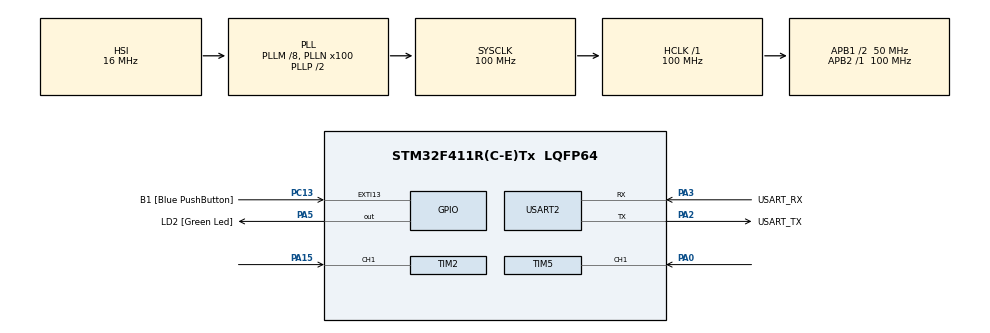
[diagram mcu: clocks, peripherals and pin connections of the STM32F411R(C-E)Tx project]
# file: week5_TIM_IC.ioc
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Mcu.Family=STM32F4
Dma.TIM2_CH1.0.MemInc=DMA_MINC_ENABLE
VP_TIM5_VS_ClockSourceINT.Mode=Internal
RCC.CortexFreq_Value=100000000
TIM2.Channel-Input_Capture1_from_TI1=TIM_CHANNEL_1
NVIC.DMA1_Stream2_IRQn=true\:0\:0\:false\:false\:true\:false\:true
PA14.GPIO_Label=TCK
Dma.TIM2_CH1.0.Instance=DMA1_Stream5
RCC.SYSCLKSource=RCC_SYSCLKSOURCE_PLLCLK
ProjectManager.StackSize=0x400
Dma.TIM5_CH1.1.Direction=DMA_PERIPH_TO_MEMORY
PH0\ -\ OSC_IN.Signal=RCC_OSC_IN
NVIC.TIM5_IRQn=true\:0\:0\:false\:false\:true\:true\:true
RCC.HCLKFreq_Value=100000000
RCC.APB2TimFreq_Value=100000000
RCC.AHBFreq_Value=100000000
RCC.HSE_VALUE=8000000
PC13-ANTI_TAMP.Signal=GPXTI13
PC14-OSC32_IN.Mode=LSE-External-Oscillator
PA14.Mode=Serial_Wire
Dma.TIM5_CH1.1.PeriphDataAlignment=DMA_PDATAALIGN_WORD
NVIC.TIM2_IRQn=true\:0\:0\:false\:false\:true\:true\:true
PA8.Signal=S_TIM1_CH1
TIM5.Channel-Input_Capture1_from_TI1=TIM_CHANNEL_1
RCC.FLatency-AdvancedSettings=FLASH_LATENCY_3
Dma.TIM5_CH1.1.Mode=DMA_NORMAL
Mcu.Package=LQFP64
TIM2.Prescaler=99
Dma.TIM2_CH1.0.FIFOMode=DMA_FIFOMODE_DISABLE
USART2.VirtualMode=VM_ASYNC
PA2.GPIO_Label=USART_TX
PA15.Signal=S_TIM2_CH1_ETR
Dma.TIM2_CH1.0.PeriphDataAlignment=DMA_PDATAALIGN_WORD
Dma.Request1=TIM5_CH1
RCC.APB1TimFreq_Value=100000000
TIM5.ICFilter_CH1=2
SH.S_TIM5_CH1.0=TIM5_CH1,Input_Capture1_from_TI1
Dma.TIM5_CH1.1.Instance=DMA1_Stream2
Dma.Request0=TIM2_CH1
Dma.TIM2_CH1.0.Direction=DMA_PERIPH_TO_MEMORY
Dma.TIM5_CH1.1.FIFOMode=DMA_FIFOMODE_DISABLE
PA3.Signal=USART2_RX
PB3.GPIO_Label=SWO
PC15-OSC32_OUT.Mode=LSE-External-Oscillator
PC13-ANTI_TAMP.GPIO_Label=B1 [Blue PushButton]
PH1\ -\ OSC_OUT.Mode=HSE-External-Clock-Source
RCC.APB1CLKDivider=RCC_HCLK_DIV2
PC14-OSC32_IN.Signal=RCC_OSC32_IN
PA0-WKUP.Signal=S_TIM5_CH1
PA13.Signal=SYS_JTMS-SWDIO
PA3.Mode=Asynchronous
PH0\ -\ OSC_IN.Mode=HSE-External-Clock-Source
SH.S_TIM1_CH1.0=TIM1_CH1
Dma.TIM5_CH1.1.Priority=DMA_PRIORITY_LOW
ProjectManager.TargetToolchain=STM32CubeIDE
NVIC.DMA1_Stream5_IRQn=true\:0\:0\:false\:false\:true\:false\:true
TIM2.ICFilter_CH1=2
PC15-OSC32_OUT.Signal=RCC_OSC32_OUT
PA5.Signal=GPIO_Output
Dma.TIM5_CH1.1.MemDataAlignment=DMA_MDATAALIGN_WORD
PH1\ -\ OSC_OUT.Signal=RCC_OSC_OUT
board=NUCLEO-F411RE
RCC.VCOOutputFreq_Value=200000000
RCC.APB2Freq_Value=100000000
Dma.TIM2_CH1.0.Priority=DMA_PRIORITY_LOW
VP_TIM2_VS_ClockSourceINT.Mode=Internal
Dma.TIM5_CH1.1.PeriphInc=DMA_PINC_DISABLE
PA13.Mode=Serial_Wire
Mcu.Name=STM32F411R(C-E)Tx
PA13.GPIO_Label=TMS
PA2.Signal=USART2_TX
RCC.48MHZClocksFreq_Value=50000000
PB3.Signal=SYS_JTDO-SWO
RCC.SYSCLKFreq_VALUE=100000000
Dma.TIM2_CH1.0.Mode=DMA_CIRCULAR
PA5.GPIO_Label=LD2 [Green Led]
Dma.TIM5_CH1.1.MemInc=DMA_MINC_ENABLE
TIM5.Prescaler=99
PC13-ANTI_TAMP.GPIO_ModeDefaultEXTI=GPIO_MODE_IT_FALLING
SH.S_TIM2_CH1_ETR.0=TIM2_CH1,Input_Capture1_from_TI1
Dma.TIM2_CH1.0.MemDataAlignment=DMA_MDATAALIGN_WORD
PA14.Signal=SYS_JTCK-SWCLK
ProjectManager.HeapSize=0x200
RCC.HSI_VALUE=16000000
NVIC.PriorityGroup=NVIC_PRIORITYGROUP_0
RCC.PLLM=8
RCC.PLLN=100
PA2.Mode=Asynchronous
RCC.APB1Freq_Value=50000000
Dma.TIM2_CH1.0.PeriphInc=DMA_PINC_DISABLE
PA3.GPIO_Label=USART_RX

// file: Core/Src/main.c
/* USER CODE BEGIN Header */
/**
 ******************************************************************************
 * @file           : main.c
 * @brief          : Main program body
 ******************************************************************************
 * @attention
 *
 * <h2><center>&copy; Copyright (c) 2021 STMicroelectronics.
 * All rights reserved.</center></h2>
 *
 * This software component is licensed by ST under BSD 3-Clause license,
 * the "License"; You may not use this file except in compliance with the
 * License. You may obtain a copy of the License at:
 *                        opensource.org/licenses/BSD-3-Clause
 *
 ******************************************************************************
 */
/* USER CODE END Header */
#include "main.h"

/* USER CODE BEGIN PD */
#define CAPTURENUM 16

/* USER CODE END PD */

TIM_HandleTypeDef htim2;
TIM_HandleTypeDef htim5;
DMA_HandleTypeDef hdma_tim2_ch1;
DMA_HandleTypeDef hdma_tim5_ch1;

UART_HandleTypeDef huart2;

/* USER CODE BEGIN PV */

//12 P/R , Gear reduction 1 : 64
//DMA Buffer
uint32_t capturedata[CAPTURENUM] = { 0 };
//diff time of capture data
int32_t DiffTime[CAPTURENUM-1] = { 0 };
//Mean difftime
float MeanTime = 0;
float Resolution = 12;  //Pulse per Round
float Module = 64;
float RPM = 0;
uint32_t HalfPeriod = 100000;  //5Hz

//for microsecond measurement
uint64_t _micros5 = 0;
/* USER CODE END PV */

void SystemClock_Config(void);
static void MX_GPIO_Init(void);
static void MX_DMA_Init(void);
static void MX_USART2_UART_Init(void);
static void MX_TIM2_Init(void);
static void MX_TIM5_Init(void);
/* USER CODE BEGIN PFP */
//Read speed of encoder
void encoderSpeedReaderCycle();
uint64_t micros5();
/* USER CODE END PFP */

int main(void)
{

  /* MCU Configuration--------------------------------------------------------*/

  /* Reset of all peripherals, Initializes the Flash interface and the Systick. */
  HAL_Init();

  /* Configure the system clock */
  SystemClock_Config();

  /* Initialize all configured peripherals */
  MX_GPIO_Init();
  MX_DMA_Init();
  MX_USART2_UART_Init();
  MX_TIM2_Init();
  MX_TIM5_Init();
  /* USER CODE BEGIN 2 */
  	  //start Microsec timer
	HAL_TIM_Base_Start_IT(&htim5);
	//start Input capture in DMA
	HAL_TIM_Base_Start(&htim2);
	HAL_TIM_IC_Start_DMA(&htim2, TIM_CHANNEL_1, (uint32_t*) &capturedata,
			CAPTURENUM);
	uint64_t timestamp = 0;
  /* USER CODE END 2 */

  /* Infinite loop */
  /* USER CODE BEGIN WHILE */
	while (1) {
		//read Time of encoder
		encoderSpeedReaderCycle();
		RPM = (60*1000000/(MeanTime*Resolution))/64;
		if(micros5()-timestamp > HalfPeriod)
		{
			timestamp = micros5();
			HAL_GPIO_TogglePin(LD2_GPIO_Port,LD2_Pin);
		}

    /* USER CODE END WHILE */

	}
}

void SystemClock_Config(void)
{
  RCC_OscInitTypeDef RCC_OscInitStruct = {0};
  RCC_ClkInitTypeDef RCC_ClkInitStruct = {0};

  /** Configure the main internal regulator output voltage
  */
  __HAL_RCC_PWR_CLK_ENABLE();
  __HAL_PWR_VOLTAGESCALING_CONFIG(PWR_REGULATOR_VOLTAGE_SCALE1);
  /** Initializes the RCC Oscillators according to the specified parameters
  * in the RCC_OscInitTypeDef structure.
  */
  RCC_OscInitStruct.OscillatorType = RCC_OSCILLATORTYPE_HSI;
  RCC_OscInitStruct.HSIState = RCC_HSI_ON;
  RCC_OscInitStruct.HSICalibrationValue = RCC_HSICALIBRATION_DEFAULT;
  RCC_OscInitStruct.PLL.PLLState = RCC_PLL_ON;
  RCC_OscInitStruct.PLL.PLLSource = RCC_PLLSOURCE_HSI;
  RCC_OscInitStruct.PLL.PLLM = 8;
  RCC_OscInitStruct.PLL.PLLN = 100;
  RCC_OscInitStruct.PLL.PLLP = RCC_PLLP_DIV2;
  RCC_OscInitStruct.PLL.PLLQ = 4;
  if (HAL_RCC_OscConfig(&RCC_OscInitStruct) != HAL_OK)
  {
    Error_Handler();
  }
  /** Initializes the CPU, AHB and APB buses clocks
  */
  RCC_ClkInitStruct.ClockType = RCC_CLOCKTYPE_HCLK|RCC_CLOCKTYPE_SYSCLK
                              |RCC_CLOCKTYPE_PCLK1|RCC_CLOCKTYPE_PCLK2;
  RCC_ClkInitStruct.SYSCLKSource = RCC_SYSCLKSOURCE_PLLCLK;
  RCC_ClkInitStruct.AHBCLKDivider = RCC_SYSCLK_DIV1;
  RCC_ClkInitStruct.APB1CLKDivider = RCC_HCLK_DIV2;
  RCC_ClkInitStruct.APB2CLKDivider = RCC_HCLK_DIV1;

  if (HAL_RCC_ClockConfig(&RCC_ClkInitStruct, FLASH_LATENCY_3) != HAL_OK)
  {
    Error_Handler();
  }
}

static void MX_TIM2_Init(void)
{

  TIM_ClockConfigTypeDef sClockSourceConfig = {0};
  TIM_MasterConfigTypeDef sMasterConfig = {0};
  TIM_IC_InitTypeDef sConfigIC = {0};

  htim2.Instance = TIM2;
  htim2.Init.Prescaler = 99;
  htim2.Init.CounterMode = TIM_COUNTERMODE_UP;
  htim2.Init.Period = 4294967295;
  htim2.Init.ClockDivision = TIM_CLOCKDIVISION_DIV1;
  htim2.Init.AutoReloadPreload = TIM_AUTORELOAD_PRELOAD_DISABLE;
  if (HAL_TIM_Base_Init(&htim2) != HAL_OK)
  {
    Error_Handler();
  }
  sClockSourceConfig.ClockSource = TIM_CLOCKSOURCE_INTERNAL;
  if (HAL_TIM_ConfigClockSource(&htim2, &sClockSourceConfig) != HAL_OK)
  {
    Error_Handler();
  }
  if (HAL_TIM_IC_Init(&htim2) != HAL_OK)
  {
    Error_Handler();
  }
  sMasterConfig.MasterOutputTrigger = TIM_TRGO_RESET;
  sMasterConfig.MasterSlaveMode = TIM_MASTERSLAVEMODE_DISABLE;
  if (HAL_TIMEx_MasterConfigSynchronization(&htim2, &sMasterConfig) != HAL_OK)
  {
    Error_Handler();
  }
  sConfigIC.ICPolarity = TIM_INPUTCHANNELPOLARITY_RISING;
  sConfigIC.ICSelection = TIM_ICSELECTION_DIRECTTI;
  sConfigIC.ICPrescaler = TIM_ICPSC_DIV1;
  sConfigIC.ICFilter = 2;
  if (HAL_TIM_IC_ConfigChannel(&htim2, &sConfigIC, TIM_CHANNEL_1) != HAL_OK)
  {
    Error_Handler();
  }

}

static void MX_TIM5_Init(void)
{

  TIM_ClockConfigTypeDef sClockSourceConfig = {0};
  TIM_MasterConfigTypeDef sMasterConfig = {0};
  TIM_IC_InitTypeDef sConfigIC = {0};

  htim5.Instance = TIM5;
  htim5.Init.Prescaler = 99;
  htim5.Init.CounterMode = TIM_COUNTERMODE_UP;
  htim5.Init.Period = 4294967295;
  htim5.Init.ClockDivision = TIM_CLOCKDIVISION_DIV1;
  htim5.Init.AutoReloadPreload = TIM_AUTORELOAD_PRELOAD_DISABLE;
  if (HAL_TIM_Base_Init(&htim5) != HAL_OK)
  {
    Error_Handler();
  }
  sClockSourceConfig.ClockSource = TIM_CLOCKSOURCE_INTERNAL;
  if (HAL_TIM_ConfigClockSource(&htim5, &sClockSourceConfig) != HAL_OK)
  {
    Error_Handler();
  }
  if (HAL_TIM_IC_Init(&htim5) != HAL_OK)
  {
    Error_Handler();
  }
  sMasterConfig.MasterOutputTrigger = TIM_TRGO_RESET;
  sMasterConfig.MasterSlaveMode = TIM_MASTERSLAVEMODE_DISABLE;
  if (HAL_TIMEx_MasterConfigSynchronization(&htim5, &sMasterConfig) != HAL_OK)
  {
    Error_Handler();
  }
  sConfigIC.ICPolarity = TIM_INPUTCHANNELPOLARITY_RISING;
  sConfigIC.ICSelection = TIM_ICSELECTION_DIRECTTI;
  sConfigIC.ICPrescaler = TIM_ICPSC_DIV1;
  sConfigIC.ICFilter = 2;
  if (HAL_TIM_IC_ConfigChannel(&htim5, &sConfigIC, TIM_CHANNEL_1) != HAL_OK)
  {
    Error_Handler();
  }

}

static void MX_USART2_UART_Init(void)
{

  huart2.Instance = USART2;
  huart2.Init.BaudRate = 115200;
  huart2.Init.WordLength = UART_WORDLENGTH_8B;
  huart2.Init.StopBits = UART_STOPBITS_1;
  huart2.Init.Parity = UART_PARITY_NONE;
  huart2.Init.Mode = UART_MODE_TX_RX;
  huart2.Init.HwFlowCtl = UART_HWCONTROL_NONE;
  huart2.Init.OverSampling = UART_OVERSAMPLING_16;
  if (HAL_UART_Init(&huart2) != HAL_OK)
  {
    Error_Handler();
  }

}

static void MX_DMA_Init(void)
{

  /* DMA controller clock enable */
  __HAL_RCC_DMA1_CLK_ENABLE();

  /* DMA interrupt init */
  /* DMA1_Stream2_IRQn interrupt configuration */
  HAL_NVIC_SetPriority(DMA1_Stream2_IRQn, 0, 0);
  HAL_NVIC_EnableIRQ(DMA1_Stream2_IRQn);
  /* DMA1_Stream5_IRQn interrupt configuration */
  HAL_NVIC_SetPriority(DMA1_Stream5_IRQn, 0, 0);
  HAL_NVIC_EnableIRQ(DMA1_Stream5_IRQn);

}

static void MX_GPIO_Init(void)
{
  GPIO_InitTypeDef GPIO_InitStruct = {0};

  /* GPIO Ports Clock Enable */
  __HAL_RCC_GPIOC_CLK_ENABLE();
  __HAL_RCC_GPIOH_CLK_ENABLE();
  __HAL_RCC_GPIOA_CLK_ENABLE();
  __HAL_RCC_GPIOB_CLK_ENABLE();

  /*Configure GPIO pin Output Level */
  HAL_GPIO_WritePin(LD2_GPIO_Port, LD2_Pin, GPIO_PIN_RESET);

  /*Configure GPIO pin : B1_Pin */
  GPIO_InitStruct.Pin = B1_Pin;
  GPIO_InitStruct.Mode = GPIO_MODE_IT_FALLING;
  GPIO_InitStruct.Pull = GPIO_NOPULL;
  HAL_GPIO_Init(B1_GPIO_Port, &GPIO_InitStruct);

  /*Configure GPIO pin : LD2_Pin */
  GPIO_InitStruct.Pin = LD2_Pin;
  GPIO_InitStruct.Mode = GPIO_MODE_OUTPUT_PP;
  GPIO_InitStruct.Pull = GPIO_NOPULL;
  GPIO_InitStruct.Speed = GPIO_SPEED_FREQ_LOW;
  HAL_GPIO_Init(LD2_GPIO_Port, &GPIO_InitStruct);

  /*Configure GPIO pin : PA8 */
  GPIO_InitStruct.Pin = GPIO_PIN_8;
  GPIO_InitStruct.Mode = GPIO_MODE_AF_PP;
  GPIO_InitStruct.Pull = GPIO_NOPULL;
  GPIO_InitStruct.Speed = GPIO_SPEED_FREQ_LOW;
  GPIO_InitStruct.Alternate = GPIO_AF1_TIM1;
  HAL_GPIO_Init(GPIOA, &GPIO_InitStruct);

}

/* USER CODE BEGIN 4 */
void encoderSpeedReaderCycle() {
	//get DMA Position form number of data
	uint32_t CapPos = CAPTURENUM - __HAL_DMA_GET_COUNTER(htim2.hdma[TIM_DMA_ID_CC1]);
	uint32_t sum = 0 ;

	//calculate diff from all buffer
	for(register int i=0 ;i < CAPTURENUM-1;i++)
	{
		DiffTime[i]  = capturedata[(CapPos+1+i)%CAPTURENUM]-capturedata[(CapPos+i)%CAPTURENUM];
		//time never go back, but timer can over flow , conpensate that
		if (DiffTime[i] <0)
		{
			DiffTime[i]+=4294967295;
		}
		//Sum all 15 Diff
		sum += DiffTime[i];
	}

	//mean all 15 Diff
	MeanTime = sum / (float)(CAPTURENUM-1);  //per pulse

}

uint64_t micros5()
{
	return _micros5 + htim5.Instance->CNT;
}
void HAL_TIM_PeriodElapsedCallback(TIM_HandleTypeDef *htim)
{
 if(htim == &htim5)
 {
	 _micros5 += 4294967295;
 }
}
/* USER CODE END 4 */

void Error_Handler(void)
{
	__disable_irq();
	while (1) {
	}
}

/************************ (C) COPYRIGHT STMicroelectronics *****END OF FILE****/
